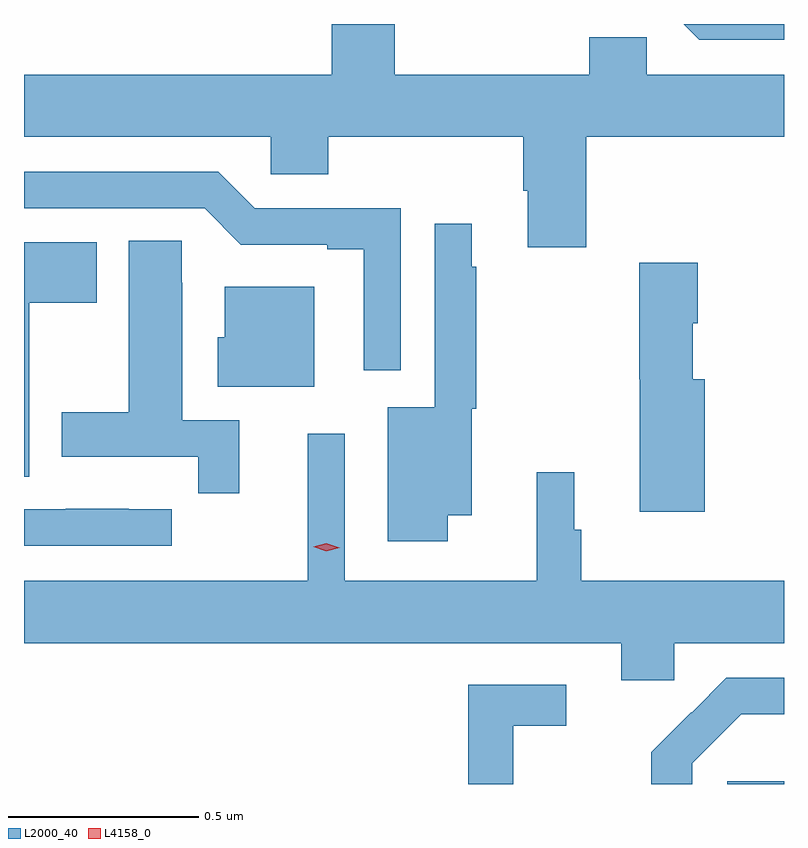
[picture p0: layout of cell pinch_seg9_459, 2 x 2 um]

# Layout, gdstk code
import gdstk
lib = gdstk.Library(unit=1e-6, precision=1e-09)
def R(c, l, rs):  # rectangles x0, y0, x1, y1
    for r in rs: c.add(gdstk.rectangle(r[:2], r[2:], *l))
def P(c, l, *ps):  # polygons
    for p in ps: c.add(gdstk.Polygon(p, *l))
L2000_40 = (2000, 40)
L4158_0 = (4158, 0)

pinch_seg9_459 = lib.new_cell('pinch_seg9_459')
R(pinch_seg9_459, L2000_40, [(246.161,1210.701,246.31,1210.708)])
P(pinch_seg9_459, L2000_40, [(246.31,1212.701),(246.046,1212.701),(246.087,1212.66),(246.31,1212.66)],
  [(245.789,1212.404),(246.31,1212.404),(246.31,1212.568),(245.949,1212.568),(245.949,1212.666),(245.798,1212.666),(245.798,1212.568),(245.285,1212.568),(245.285,1212.701),(245.12,1212.701),(245.12,1212.568),(244.31,1212.568),(244.31,1212.404),(244.959,1212.404),(244.959,1212.306),(245.111,1212.306),(245.111,1212.404),(245.624,1212.404),(245.624,1212.262),(245.636,1212.262),(245.636,1212.114),(245.789,1212.114)],
  [(245.301,1212.216),(244.917,1212.216),(244.821,1212.312),(244.31,1212.312),(244.31,1212.216),(244.785,1212.216),(244.881,1212.12),(245.108,1212.12),(245.108,1212.108),(245.204,1212.108),(245.204,1211.79),(245.301,1211.79)],
  [(245.425,1211.408),(245.488,1211.408),(245.488,1211.688),(245.5,1211.688),(245.5,1212.062),(245.488,1212.062),(245.488,1212.175),(245.391,1212.175),(245.391,1211.692),(245.267,1211.692),(245.267,1211.34),(245.425,1211.34)],
  [(244.877,1211.658),(244.726,1211.658),(244.726,1212.02),(244.725,1212.02),(244.725,1212.131),(244.586,1212.131),(244.586,1211.679),(244.409,1211.679),(244.409,1211.562),(244.768,1211.562),(244.768,1211.466),(244.877,1211.466)],
  [(244.324,1211.968),(244.501,1211.968),(244.501,1212.127),(244.31,1212.127),(244.31,1211.509),(244.324,1211.509)],
  [(246.101,1211.766),(246.07,1211.766),(246.07,1211.913),(246.083,1211.913),(246.083,1212.073),(245.929,1212.073),(245.929,1211.766),(245.93,1211.766),(245.93,1211.418),(246.101,1211.418)],
  [(245.074,1212.01),(244.838,1212.01),(244.838,1211.877),(244.82,1211.877),(244.82,1211.747),(245.074,1211.747)],
  [(246.021,1211.072),(246.31,1211.072),(246.31,1211.236),(245.777,1211.236),(245.777,1211.37),(245.758,1211.37),(245.758,1211.521),(245.659,1211.521),(245.659,1211.236),(245.154,1211.236),(245.154,1211.623),(245.057,1211.623),(245.057,1211.236),(244.31,1211.236),(244.31,1211.072),(245.882,1211.072),(245.882,1210.974),(246.021,1210.974)],
  [(244.699,1211.424),(244.586,1211.424),(244.586,1211.425),(244.42,1211.425),(244.42,1211.424),(244.31,1211.424),(244.31,1211.328),(244.699,1211.328)],
  [(246.069,1210.755),(246.198,1210.884),(246.31,1210.884),(246.31,1210.98),(246.158,1210.98),(246.067,1210.889),(246.066,1210.89),(245.961,1210.785),(245.961,1210.701),(246.069,1210.701)],
  [(245.597,1210.854),(245.737,1210.854),(245.737,1210.962),(245.479,1210.962),(245.479,1210.701),(245.597,1210.701)])
P(pinch_seg9_459, L4158_0, [(245.106,1211.314),(245.071,1211.325),(245.071,1211.325),(245.071,1211.325),(245.106,1211.334),(245.141,1211.323),(245.141,1211.323),(245.141,1211.323)])

lib.write_gds('pinch_seg9_459.gds')
